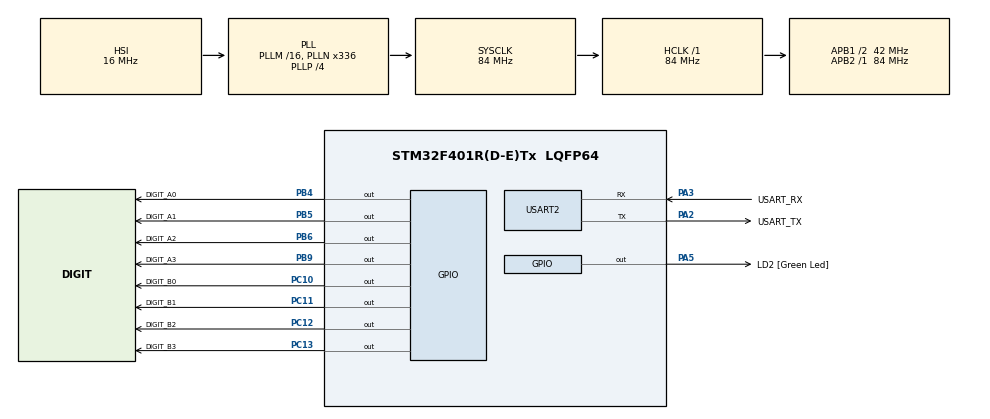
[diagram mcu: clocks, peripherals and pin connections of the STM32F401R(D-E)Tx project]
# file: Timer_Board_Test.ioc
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Mcu.Family=STM32F4
Mcu.Name=STM32F401R(D-E)Tx
Mcu.Package=LQFP64
NVIC.PriorityGroup=NVIC_PRIORITYGROUP_4
PA13.GPIO_Label=TMS
PA13.Mode=Trace_Asynchronous_SW
PA13.Signal=SYS_JTMS-SWDIO
PA14.GPIO_Label=TCK
PA14.Mode=Trace_Asynchronous_SW
PA14.Signal=SYS_JTCK-SWCLK
PA2.GPIO_Label=USART_TX
PA2.GPIO_Mode=GPIO_MODE_AF_PP
PA2.GPIO_PuPd=GPIO_NOPULL
PA2.GPIO_Speed=GPIO_SPEED_FREQ_LOW
PA2.Mode=Asynchronous
PA2.Signal=USART2_TX
PA3.GPIO_Label=USART_RX
PA3.GPIO_Mode=GPIO_MODE_AF_PP
PA3.GPIO_PuPd=GPIO_NOPULL
PA3.GPIO_Speed=GPIO_SPEED_FREQ_LOW
PA3.Mode=Asynchronous
PA3.Signal=USART2_RX
PA5.GPIO_Label=LD2 [Green Led]
PA5.GPIO_Mode=GPIO_MODE_OUTPUT_PP
PA5.GPIO_PuPd=GPIO_NOPULL
PA5.GPIO_Speed=GPIO_SPEED_FREQ_LOW
PA5.Signal=GPIO_Output
PB3.GPIO_Label=SWO
PB3.Mode=Trace_Asynchronous_SW
PB3.Signal=SYS_JTDO-SWO
PB4.GPIO_Label=DIGIT_A0
PB4.Signal=GPIO_Output
PB5.GPIO_Label=DIGIT_A1
PB5.Signal=GPIO_Output
PB6.GPIO_Label=DIGIT_A2
PB6.Signal=GPIO_Output
PB9.GPIO_Label=DIGIT_A3
PB9.Signal=GPIO_Output
PC10.GPIO_Label=DIGIT_B0
PC10.Signal=GPIO_Output
PC11.GPIO_Label=DIGIT_B1
PC11.Signal=GPIO_Output
PC12.GPIO_Label=DIGIT_B2
PC12.Signal=GPIO_Output
PC13-ANTI_TAMP.GPIO_Label=DIGIT_B3
PC13-ANTI_TAMP.Signal=GPIO_Output
PC14-OSC32_IN.Mode=LSE-External-Oscillator
PC14-OSC32_IN.Signal=RCC_OSC32_IN
PC15-OSC32_OUT.Mode=LSE-External-Oscillator
PC15-OSC32_OUT.Signal=RCC_OSC32_OUT
PH0\ -\ OSC_IN.Mode=HSE-External-Clock-Source
PH0\ -\ OSC_IN.Signal=RCC_OSC_IN
PH1\ -\ OSC_OUT.Mode=HSE-External-Clock-Source
PH1\ -\ OSC_OUT.Signal=RCC_OSC_OUT
ProjectManager.HeapSize=0x200
ProjectManager.StackSize=0x400
ProjectManager.TargetToolchain=STM32CubeIDE
RCC.48MHZClocksFreq_Value=48000000
RCC.AHBFreq_Value=84000000
RCC.APB1CLKDivider=RCC_HCLK_DIV2
RCC.APB1Freq_Value=42000000
RCC.APB1TimFreq_Value=84000000
RCC.APB2Freq_Value=84000000
RCC.APB2TimFreq_Value=84000000
RCC.CortexFreq_Value=84000000
RCC.HCLKFreq_Value=84000000
RCC.HSE_VALUE=8000000
RCC.HSI_VALUE=16000000
RCC.PLLN=336
RCC.PLLP=RCC_PLLP_DIV4
RCC.PLLQ=7
RCC.SYSCLKFreq_VALUE=84000000
RCC.SYSCLKSource=RCC_SYSCLKSOURCE_PLLCLK
RCC.VCOOutputFreq_Value=336000000
USART2.VirtualMode=VM_ASYNC
board=NUCLEO-F401RE

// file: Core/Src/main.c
/* USER CODE BEGIN Header */
/**
  ******************************************************************************
  * @file           : main.c
  * @brief          : Main program body
  ******************************************************************************
  * @attention
  *
  * Copyright (c) 2026 STMicroelectronics.
  * All rights reserved.
  *
  * This software is licensed under terms that can be found in the LICENSE file
  * in the root directory of this software component.
  * If no LICENSE file comes with this software, it is provided AS-IS.
  *
  ******************************************************************************
  */
/* USER CODE END Header */
#include "main.h"

UART_HandleTypeDef huart2;

void SystemClock_Config(void);
static void MX_GPIO_Init(void);
static void MX_USART2_UART_Init(void);

/* USER CODE BEGIN 0 */

void DIGITS_Display(uint8_t DIGIT_A, uint8_t DIGIT_B)
{
	 uint8_t DIGITA_VAL = 0x0F & DIGIT_A; //mask off higher4 bits
	 int Abit0 = (DIGITA_VAL ) & 1;  	// extract Abit0 of the 4-bit value
	 int Abit1 = (DIGITA_VAL >> 1) & 1;  // extract Abit1 of the 4-bit value
	 int Abit2 = (DIGITA_VAL >> 2) & 1;  // extract Abit2 of the 4-bit value
	 int Abit3 = (DIGITA_VAL >> 3) & 1;  // extract Abit3 of the 4-bit value

	 uint8_t DIGITB_VAL = 0x0F & DIGIT_B; //mask off higher4 bits
	 int Bbit0 = (DIGITB_VAL ) & 1;  	// extract Bbit0 of the 4-bit value
	 int Bbit1 = (DIGITB_VAL >> 1) & 1;  // extract Bbit1 of the 4-bit value
	 int Bbit2 = (DIGITB_VAL >> 2) & 1;  // extract Bbit2 of the 4-bit value
	 int Bbit3 = (DIGITB_VAL >> 3) & 1;  // extract Bbit3 of the 4-bit value

	 if (Abit0 == (0))
	 {
		 HAL_GPIO_WritePin(GPIOB, DIGIT_A0_Pin, GPIO_PIN_RESET);
	 }
	 else
	 {
		 HAL_GPIO_WritePin(GPIOB, DIGIT_A0_Pin, GPIO_PIN_SET);
	 }

	 if (Abit1 == (0))
	 {
		 HAL_GPIO_WritePin(GPIOB, DIGIT_A1_Pin, GPIO_PIN_RESET);
	 }
	 else
	 {
		 HAL_GPIO_WritePin(GPIOB, DIGIT_A1_Pin, GPIO_PIN_SET);
	 }

	 if (Abit2 == (0))
	 {
		 HAL_GPIO_WritePin(GPIOB, DIGIT_A2_Pin, GPIO_PIN_RESET);
	 }
	 else
	 {
		 HAL_GPIO_WritePin(GPIOB, DIGIT_A2_Pin, GPIO_PIN_SET);
	 }

	 if (Abit3 == (0))
	 {
		 HAL_GPIO_WritePin(GPIOB, DIGIT_A3_Pin, GPIO_PIN_RESET);
	 }
	 else
	 {
		 HAL_GPIO_WritePin(GPIOB, DIGIT_A3_Pin, GPIO_PIN_SET);
	 }

	 if (Bbit0 == (0))
	 {
		 HAL_GPIO_WritePin(GPIOC, DIGIT_B0_Pin, GPIO_PIN_RESET);
	 }
	 else
	 {
		 HAL_GPIO_WritePin(GPIOC, DIGIT_B0_Pin, GPIO_PIN_SET);
	 }

	 if (Bbit1 == (0))
	 {
		 HAL_GPIO_WritePin(GPIOC, DIGIT_B1_Pin, GPIO_PIN_RESET);
	 }
	 else
	 {
		 HAL_GPIO_WritePin(GPIOC, DIGIT_B1_Pin, GPIO_PIN_SET);
	 }

	 if (Bbit2 == (0))
	 {
		 HAL_GPIO_WritePin(GPIOC, DIGIT_B2_Pin, GPIO_PIN_RESET);
	 }
	 else
	 {
		 HAL_GPIO_WritePin(GPIOC, DIGIT_B2_Pin, GPIO_PIN_SET);
	 }

	 if (Bbit3 == (0))
	 {
		 HAL_GPIO_WritePin(GPIOC, DIGIT_B3_Pin, GPIO_PIN_RESET);
	 }
	 else
	 {
		 HAL_GPIO_WritePin(GPIOC, DIGIT_B3_Pin, GPIO_PIN_SET);
	 }
}

/* USER CODE END 0 */

int main(void)
{

  /* MCU Configuration--------------------------------------------------------*/

  /* Reset of all peripherals, Initializes the Flash interface and the Systick. */
  HAL_Init();

  /* Configure the system clock */
  SystemClock_Config();

  /* Initialize all configured peripherals */
  MX_GPIO_Init();
  MX_USART2_UART_Init();

  /* USER CODE BEGIN 2 */

  uint8_t count = 0;
  uint8_t digit_A = 0;
  uint8_t digit_B = 0;

  /* USER CODE END 2 */

  /* Infinite loop */
  /* USER CODE BEGIN WHILE */
  /* USER CODE BEGIN WHILE */
  while (1)
  {
  	  digit_A = count % 10;   // ones digit
  	  digit_B = count / 10;   // tens digit

  	  DIGITS_Display(digit_B, digit_A);

  	  HAL_GPIO_TogglePin(LD2_GPIO_Port, LD2_Pin); // optional: proves code is running

  	  count++;

  	  if (count > 99)
  	  {
  		  count = 0;
  	  }

  	  HAL_Delay(500);

      /* USER CODE END WHILE */

  }
}

void SystemClock_Config(void)
{
  RCC_OscInitTypeDef RCC_OscInitStruct = {0};
  RCC_ClkInitTypeDef RCC_ClkInitStruct = {0};

  /** Configure the main internal regulator output voltage
  */
  __HAL_RCC_PWR_CLK_ENABLE();
  __HAL_PWR_VOLTAGESCALING_CONFIG(PWR_REGULATOR_VOLTAGE_SCALE2);

  /** Initializes the RCC Oscillators according to the specified parameters
  * in the RCC_OscInitTypeDef structure.
  */
  RCC_OscInitStruct.OscillatorType = RCC_OSCILLATORTYPE_HSI;
  RCC_OscInitStruct.HSIState = RCC_HSI_ON;
  RCC_OscInitStruct.HSICalibrationValue = RCC_HSICALIBRATION_DEFAULT;
  RCC_OscInitStruct.PLL.PLLState = RCC_PLL_ON;
  RCC_OscInitStruct.PLL.PLLSource = RCC_PLLSOURCE_HSI;
  RCC_OscInitStruct.PLL.PLLM = 16;
  RCC_OscInitStruct.PLL.PLLN = 336;
  RCC_OscInitStruct.PLL.PLLP = RCC_PLLP_DIV4;
  RCC_OscInitStruct.PLL.PLLQ = 7;
  if (HAL_RCC_OscConfig(&RCC_OscInitStruct) != HAL_OK)
  {
    Error_Handler();
  }

  /** Initializes the CPU, AHB and APB buses clocks
  */
  RCC_ClkInitStruct.ClockType = RCC_CLOCKTYPE_HCLK|RCC_CLOCKTYPE_SYSCLK
                              |RCC_CLOCKTYPE_PCLK1|RCC_CLOCKTYPE_PCLK2;
  RCC_ClkInitStruct.SYSCLKSource = RCC_SYSCLKSOURCE_PLLCLK;
  RCC_ClkInitStruct.AHBCLKDivider = RCC_SYSCLK_DIV1;
  RCC_ClkInitStruct.APB1CLKDivider = RCC_HCLK_DIV2;
  RCC_ClkInitStruct.APB2CLKDivider = RCC_HCLK_DIV1;

  if (HAL_RCC_ClockConfig(&RCC_ClkInitStruct, FLASH_LATENCY_2) != HAL_OK)
  {
    Error_Handler();
  }
}

static void MX_USART2_UART_Init(void)
{

  huart2.Instance = USART2;
  huart2.Init.BaudRate = 115200;
  huart2.Init.WordLength = UART_WORDLENGTH_8B;
  huart2.Init.StopBits = UART_STOPBITS_1;
  huart2.Init.Parity = UART_PARITY_NONE;
  huart2.Init.Mode = UART_MODE_TX_RX;
  huart2.Init.HwFlowCtl = UART_HWCONTROL_NONE;
  huart2.Init.OverSampling = UART_OVERSAMPLING_16;
  if (HAL_UART_Init(&huart2) != HAL_OK)
  {
    Error_Handler();
  }

}

static void MX_GPIO_Init(void)
{
  GPIO_InitTypeDef GPIO_InitStruct = {0};

  /* GPIO Ports Clock Enable */
  __HAL_RCC_GPIOC_CLK_ENABLE();
  __HAL_RCC_GPIOH_CLK_ENABLE();
  __HAL_RCC_GPIOA_CLK_ENABLE();
  __HAL_RCC_GPIOB_CLK_ENABLE();

  /*Configure GPIO pin Output Level */
  HAL_GPIO_WritePin(GPIOC, DIGIT_B3_Pin|DIGIT_B0_Pin|DIGIT_B1_Pin|DIGIT_B2_Pin, GPIO_PIN_RESET);

  /*Configure GPIO pin Output Level */
  HAL_GPIO_WritePin(LD2_GPIO_Port, LD2_Pin, GPIO_PIN_RESET);

  /*Configure GPIO pin Output Level */
  HAL_GPIO_WritePin(GPIOB, DIGIT_A0_Pin|DIGIT_A1_Pin|DIGIT_A2_Pin|DIGIT_A3_Pin, GPIO_PIN_RESET);

  /*Configure GPIO pins : DIGIT_B3_Pin DIGIT_B0_Pin DIGIT_B1_Pin DIGIT_B2_Pin */
  GPIO_InitStruct.Pin = DIGIT_B3_Pin|DIGIT_B0_Pin|DIGIT_B1_Pin|DIGIT_B2_Pin;
  GPIO_InitStruct.Mode = GPIO_MODE_OUTPUT_PP;
  GPIO_InitStruct.Pull = GPIO_NOPULL;
  GPIO_InitStruct.Speed = GPIO_SPEED_FREQ_LOW;
  HAL_GPIO_Init(GPIOC, &GPIO_InitStruct);

  /*Configure GPIO pin : LD2_Pin */
  GPIO_InitStruct.Pin = LD2_Pin;
  GPIO_InitStruct.Mode = GPIO_MODE_OUTPUT_PP;
  GPIO_InitStruct.Pull = GPIO_NOPULL;
  GPIO_InitStruct.Speed = GPIO_SPEED_FREQ_LOW;
  HAL_GPIO_Init(LD2_GPIO_Port, &GPIO_InitStruct);

  /*Configure GPIO pins : DIGIT_A0_Pin DIGIT_A1_Pin DIGIT_A2_Pin DIGIT_A3_Pin */
  GPIO_InitStruct.Pin = DIGIT_A0_Pin|DIGIT_A1_Pin|DIGIT_A2_Pin|DIGIT_A3_Pin;
  GPIO_InitStruct.Mode = GPIO_MODE_OUTPUT_PP;
  GPIO_InitStruct.Pull = GPIO_NOPULL;
  GPIO_InitStruct.Speed = GPIO_SPEED_FREQ_LOW;
  HAL_GPIO_Init(GPIOB, &GPIO_InitStruct);

}

void Error_Handler(void)
{
  __disable_irq();
  while (1)
  {
  }
}
